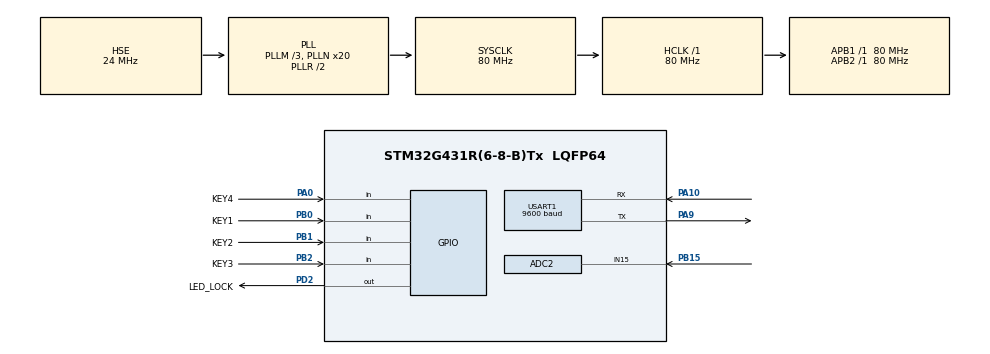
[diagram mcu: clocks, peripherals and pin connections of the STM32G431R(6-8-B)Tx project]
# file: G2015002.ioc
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ADC2.Channel-0\#ChannelRegularConversion=ADC_CHANNEL_15
ADC2.NbrOfConversionFlag=1
ADC2.OffsetNumber-0\#ChannelRegularConversion=ADC_OFFSET_NONE
ADC2.Rank-0\#ChannelRegularConversion=1
ADC2.SamplingTime-0\#ChannelRegularConversion=ADC_SAMPLETIME_247CYCLES_5
Mcu.Family=STM32G4
Mcu.Name=STM32G431R(6-8-B)Tx
Mcu.Package=LQFP64
NVIC.PriorityGroup=NVIC_PRIORITYGROUP_4
NVIC.USART1_IRQn=true\:1\:0\:true\:false\:true\:true\:true
PA0.GPIO_Label=KEY4
PA0.Signal=GPIO_Input
PA10.Mode=Asynchronous
PA10.Signal=USART1_RX
PA9.Mode=Asynchronous
PA9.Signal=USART1_TX
PB0.GPIO_Label=KEY1
PB0.Signal=GPIO_Input
PB1.GPIO_Label=KEY2
PB1.Signal=GPIO_Input
PB15.Mode=IN15-Single-Ended
PB15.Signal=ADC2_IN15
PB2.GPIO_Label=KEY3
PB2.Signal=GPIO_Input
PD2.GPIO_Label=LED_LOCK
PD2.Signal=GPIO_Output
PF0-OSC_IN.Mode=HSE-External-Oscillator
PF0-OSC_IN.Signal=RCC_OSC_IN
PF1-OSC_OUT.Mode=HSE-External-Oscillator
PF1-OSC_OUT.Signal=RCC_OSC_OUT
ProjectManager.HeapSize=0x200
ProjectManager.StackSize=0x400
ProjectManager.TargetToolchain=MDK-ARM V5.32
RCC.ADC12Freq_Value=80000000
RCC.AHBFreq_Value=80000000
RCC.APB1Freq_Value=80000000
RCC.APB1TimFreq_Value=80000000
RCC.APB2Freq_Value=80000000
RCC.APB2TimFreq_Value=80000000
RCC.CortexFreq_Value=80000000
RCC.EXTERNAL_CLOCK_VALUE=12288000
RCC.HCLKFreq_Value=80000000
RCC.HSE_VALUE=24000000
RCC.HSI48_VALUE=48000000
RCC.HSI_VALUE=16000000
RCC.LSE_VALUE=32768
RCC.PLLM=RCC_PLLM_DIV3
RCC.PLLN=20
RCC.PLLSourceVirtual=RCC_PLLSOURCE_HSE
RCC.RTCClockSelection=RCC_RTCCLKSOURCE_HSE_DIV32
RCC.SYSCLKFreq_VALUE=80000000
RCC.SYSCLKSource=RCC_SYSCLKSOURCE_PLLCLK
RCC.USBFreq_Value=80000000
RCC.VCOOutputFreq_Value=160000000
RTC.AsynchPrediv=124
RTC.Hours=23
RTC.Minutes=59
RTC.Seconds=55
RTC.SynchPrediv=5999
USART1.BaudRate=9600
USART1.VirtualMode-Asynchronous=VM_ASYNC
VP_RTC_VS_RTC_Activate.Mode=RTC_Enabled
VP_RTC_VS_RTC_Calendar.Mode=RTC_Calendar
VP_SYS_VS_DBSignals.Mode=DisableDeadBatterySignals
board=custom

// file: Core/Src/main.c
/* USER CODE BEGIN Header */
/**
  ******************************************************************************
  * @file           : main.c
  * @brief          : Main program body
  ******************************************************************************
  * @attention
  *
  * <h2><center>&copy; Copyright (c) 2022 STMicroelectronics.
  * All rights reserved.</center></h2>
  *
  * This software component is licensed by ST under BSD 3-Clause license,
  * the "License"; You may not use this file except in compliance with the
  * License. You may obtain a copy of the License at:
  *                        opensource.org/licenses/BSD-3-Clause
  *
  ******************************************************************************
  */
/* USER CODE END Header */
#include "main.h"
#include "adc.h"
#include "rtc.h"
#include "usart.h"
#include "gpio.h"

/* USER CODE BEGIN Includes */
#include "lcd.h"
#include "bsp.h"
#include "bsp_iic.h"

#include "stdio.h"
#include "string.h"

/* USER CODE END Includes */

/* USER CODE BEGIN PD */
#define EEPROM_CHECK_ADD 0x22
#define EEPROM_CHECK_PSD 0x20

/* USER CODE END PD */

/* USER CODE BEGIN PV */
__IO u32 TimerTick[10] = {0};

u8 KEY_Val, KEY_Down, KEY_Old = 0;
u8 LED_State = 0;
u8 LED_Ctrl = 1;
u8 LCD_String_Buffer[21];
u8 Uart_Rx_Temp = 0;
u8 Uart_Rx_Buffer[50] = {0};
u8 Uart_Rx_Index = 0;
u8 Uart_Tx[128] = {0};
u8 Uart_Report_Flag = 0;

u8 Menu_State = 0;
u8 Setting_Index = 0;
u16 ADC_Val = 0;
float R37_Vol;
u8 k_x10_int = 1;
u8 LCD_Setting_Blink_Flag = 0;

RTC_TimeTypeDef sTime = {0};
RTC_DateTypeDef sDate = {0};

u8 Report_Time_Disp[3] = {0};
u8 Report_Time_Ctrl[3] = {0};

/* USER CODE END PV */

void SystemClock_Config(void);

/* USER CODE BEGIN 0 */
void LCD_Task(void);
void KEY_Task(void);
void UART_Task(void);
void Linsten_Task(void);

/* USER CODE END 0 */

int main(void)
{

  /* MCU Configuration--------------------------------------------------------*/

  /* Reset of all peripherals, Initializes the Flash interface and the Systick. */
  HAL_Init();

  /* Configure the system clock */
  SystemClock_Config();

  /* Initialize all configured peripherals */
  MX_GPIO_Init();
  MX_ADC2_Init();
  MX_RTC_Init();
  MX_USART1_UART_Init();
  /* USER CODE BEGIN 2 */

  I2CInit(); // ※ 这里别忘了

  LCD_Init();
  LCD_Clear(Black);
  LCD_SetBackColor(Black);
  LCD_SetTextColor(White);

  LED_Disp(LED_State);

  // 检测是否为默认
  Read_EEPROM(&k_x10_int, 1, EEPROM_CHECK_ADD);
  if(k_x10_int != EEPROM_CHECK_PSD)
  {
    k_x10_int = 1;
    Write_EEPROM(&k_x10_int, 1, 0x00);
  }
  else if(k_x10_int == 0 || k_x10_int > 9)
  {
    k_x10_int = 1;
    Write_EEPROM(&k_x10_int, 1, 0x00);
  }

  HAL_UART_Receive_IT(&huart1, &Uart_Rx_Temp, 1);
  /* USER CODE END 2 */

  /* Infinite loop */
  /* USER CODE BEGIN WHILE */
  while (1)
  {
    LCD_Task();
    KEY_Task();
    UART_Task();
    Linsten_Task();

    /* USER CODE END WHILE */

  }
}

void SystemClock_Config(void)
{
  RCC_OscInitTypeDef RCC_OscInitStruct = {0};
  RCC_ClkInitTypeDef RCC_ClkInitStruct = {0};
  RCC_PeriphCLKInitTypeDef PeriphClkInit = {0};

  /** Configure the main internal regulator output voltage
  */
  HAL_PWREx_ControlVoltageScaling(PWR_REGULATOR_VOLTAGE_SCALE1);
  /** Initializes the RCC Oscillators according to the specified parameters
  * in the RCC_OscInitTypeDef structure.
  */
  RCC_OscInitStruct.OscillatorType = RCC_OSCILLATORTYPE_HSE;
  RCC_OscInitStruct.HSEState = RCC_HSE_ON;
  RCC_OscInitStruct.PLL.PLLState = RCC_PLL_ON;
  RCC_OscInitStruct.PLL.PLLSource = RCC_PLLSOURCE_HSE;
  RCC_OscInitStruct.PLL.PLLM = RCC_PLLM_DIV3;
  RCC_OscInitStruct.PLL.PLLN = 20;
  RCC_OscInitStruct.PLL.PLLP = RCC_PLLP_DIV2;
  RCC_OscInitStruct.PLL.PLLQ = RCC_PLLQ_DIV2;
  RCC_OscInitStruct.PLL.PLLR = RCC_PLLR_DIV2;
  if (HAL_RCC_OscConfig(&RCC_OscInitStruct) != HAL_OK)
  {
    Error_Handler();
  }
  /** Initializes the CPU, AHB and APB buses clocks
  */
  RCC_ClkInitStruct.ClockType = RCC_CLOCKTYPE_HCLK|RCC_CLOCKTYPE_SYSCLK
                              |RCC_CLOCKTYPE_PCLK1|RCC_CLOCKTYPE_PCLK2;
  RCC_ClkInitStruct.SYSCLKSource = RCC_SYSCLKSOURCE_PLLCLK;
  RCC_ClkInitStruct.AHBCLKDivider = RCC_SYSCLK_DIV1;
  RCC_ClkInitStruct.APB1CLKDivider = RCC_HCLK_DIV1;
  RCC_ClkInitStruct.APB2CLKDivider = RCC_HCLK_DIV1;

  if (HAL_RCC_ClockConfig(&RCC_ClkInitStruct, FLASH_LATENCY_2) != HAL_OK)
  {
    Error_Handler();
  }
  /** Initializes the peripherals clocks
  */
  PeriphClkInit.PeriphClockSelection = RCC_PERIPHCLK_RTC|RCC_PERIPHCLK_USART1
                              |RCC_PERIPHCLK_ADC12;
  PeriphClkInit.Usart1ClockSelection = RCC_USART1CLKSOURCE_PCLK2;
  PeriphClkInit.Adc12ClockSelection = RCC_ADC12CLKSOURCE_SYSCLK;
  PeriphClkInit.RTCClockSelection = RCC_RTCCLKSOURCE_HSE_DIV32;

  if (HAL_RCCEx_PeriphCLKConfig(&PeriphClkInit) != HAL_OK)
  {
    Error_Handler();
  }
}

/* USER CODE BEGIN 4 */
void LCD_Task(void)
{
  if(TimerTick[6] < HAL_GetTick())
  {
    LCD_Setting_Blink_Flag ^= 1;
    TimerTick[6] = HAL_GetTick() + 200;
  }

  if(TimerTick[0] > HAL_GetTick())
    return;
  TimerTick[0] = HAL_GetTick() + 100;

  if(Menu_State == 0)
  {
    sprintf((char *)LCD_String_Buffer, "    V1:%.2fV   ", R37_Vol); //
    LCD_DisplayStringLine(Line1, LCD_String_Buffer);
    sprintf((char *)LCD_String_Buffer, "    k:0.%d   ", k_x10_int); //
    LCD_DisplayStringLine(Line3, LCD_String_Buffer);

    if(LED_Ctrl)
    {
      sprintf((char *)LCD_String_Buffer, "    LED:ON "); //
      LCD_DisplayStringLine(Line5, LCD_String_Buffer);
    }
    else
    {
      sprintf((char *)LCD_String_Buffer, "    LED:OFF"); //
      LCD_DisplayStringLine(Line5, LCD_String_Buffer);
    }

    sprintf((char *)LCD_String_Buffer, "    T:%02d-%02d-%02d", sTime.Hours, sTime.Minutes, sTime.Seconds); //
    LCD_DisplayStringLine(Line7, LCD_String_Buffer);
  }
  else
  {
    sprintf((char *)LCD_String_Buffer, "       Setting");
    LCD_DisplayStringLine(Line1, LCD_String_Buffer);

    sprintf((char *)LCD_String_Buffer, "      %02d-%02d-%02d", Report_Time_Disp[0], Report_Time_Disp[1], Report_Time_Disp[2]);

    if(LCD_Setting_Blink_Flag)
    {
      #define LCD_SETTING_OFFSER 0
       switch(Setting_Index)
      {
       case 0:
         LCD_String_Buffer[6 + LCD_SETTING_OFFSER] = ' ';
         LCD_String_Buffer[7 + LCD_SETTING_OFFSER] = ' ';
         break;

       case 1:
         LCD_String_Buffer[ 9 + LCD_SETTING_OFFSER] = ' ';
         LCD_String_Buffer[10 + LCD_SETTING_OFFSER] = ' ';
         break;

       case 2:
         LCD_String_Buffer[12 + LCD_SETTING_OFFSER] = ' ';
         LCD_String_Buffer[13 + LCD_SETTING_OFFSER] = ' ';
         break;
      }
    }
    LCD_DisplayStringLine(Line5, LCD_String_Buffer);

  }
}

void KEY_Task(void)
{
  if(TimerTick[1] > HAL_GetTick())
    return;
  TimerTick[1] = HAL_GetTick() + 50;

  KEY_Val = KEY_Scan();
  KEY_Down = KEY_Val & (KEY_Val ^ KEY_Old);
  KEY_Old = KEY_Val;

  switch( KEY_Down)
  {
    case 1:
      LED_Ctrl ^= 1;

      Report_Time_Ctrl[0] = Report_Time_Disp[0];
      Report_Time_Ctrl[1] = Report_Time_Disp[1];
      Report_Time_Ctrl[2] = Report_Time_Disp[2];

      break;

     case 2:
       Menu_State ^= 1;
       LCD_Clear(Black);
       break;

     case 3:
       if(Menu_State ==1)
       {
         if(++Setting_Index == 3)
           Setting_Index = 0;
       }
      break;

    case 4:
      if(Menu_State ==1)
      {
        if(Setting_Index == 0)
        {
          if(++Report_Time_Disp[Setting_Index] == 24)
            Report_Time_Disp[Setting_Index] = 0;
        }
        else
        {
           if(++Report_Time_Disp[Setting_Index] == 60)
            Report_Time_Disp[Setting_Index] = 0;
        }
      }
      break;
  }
}

void HAL_UART_RxCpltCallback(UART_HandleTypeDef *huart)
{
  Uart_Rx_Buffer[Uart_Rx_Index] = Uart_Rx_Temp;
  Uart_Rx_Index++;

  TimerTick[2] = HAL_GetTick() + 20;

  HAL_UART_Receive_IT(&huart1, &Uart_Rx_Temp, 1);
}

void UART_Task(void)
{
  if(Uart_Rx_Index == 0)
    return;

  if(TimerTick[2] > HAL_GetTick())
    return;

  if(Uart_Rx_Index == 6)
  {
    if(Uart_Rx_Buffer[0] == 'k' && Uart_Rx_Buffer[1] == '0' && Uart_Rx_Buffer[2] == '.' &&
      (Uart_Rx_Buffer[3] >= '1' && Uart_Rx_Buffer[3] <= '9') && Uart_Rx_Buffer[4] == 0x5C && Uart_Rx_Buffer[5] == 'n')
    {
      k_x10_int = Uart_Rx_Buffer[3] - '0';

      Write_EEPROM(&k_x10_int, 1, 0x00);

      sprintf((char *)Uart_Tx, "ok\n");
      HAL_UART_Transmit(&huart1, Uart_Tx, 3, 50);
    }

  }

//  sprintf((char *)Uart_Tx, "error\n");
//  HAL_UART_Transmit(&huart1, Uart_Tx, 7, 50);
  Uart_Rx_Index = 0;
  memset(Uart_Rx_Buffer, 0, 6);
}

void Linsten_Task(void)
{
  if(TimerTick[3] < HAL_GetTick())
  {
    TimerTick[3] = HAL_GetTick() + 50;

    HAL_RTC_GetTime(&hrtc, &sTime, RTC_FORMAT_BIN);
    HAL_RTC_GetDate(&hrtc, &sDate, RTC_FORMAT_BIN);

    ADC_Val = ADC_GetVal();
    R37_Vol = ADC_Val * 3.3f / 4096;

    if(sTime.Hours == Report_Time_Ctrl[0] && sTime.Minutes == Report_Time_Ctrl[1] && sTime.Seconds == Report_Time_Ctrl[2])
    {
      if(Uart_Report_Flag == 0)
      {
        sprintf((char *)Uart_Tx, "%.2f+0.%d+%02d%02d%02d\n", R37_Vol, k_x10_int, Report_Time_Ctrl[0], Report_Time_Ctrl[1], Report_Time_Ctrl[2]);
        HAL_UART_Transmit(&huart1, Uart_Tx, strlen((const char *)Uart_Tx), 250);
        Uart_Report_Flag = 1;
      }
    }
    else
    {
      Uart_Report_Flag = 0;
    }
  }

  if(LED_Ctrl)
  {
    if(TimerTick[4] < HAL_GetTick())
    {
      TimerTick[4] = HAL_GetTick() + 200;

      if(ADC_Val * 10 > 4096 * k_x10_int)
      {
        LED_State ^= 1;
      }
      else
      {
        LED_State = 0;
      }
      LED_Disp(LED_State);
    }
  }
}
/* USER CODE END 4 */

void Error_Handler(void)
{
  __disable_irq();
  while (1)
  {
  }
}

/************************ (C) COPYRIGHT STMicroelectronics *****END OF FILE****/
